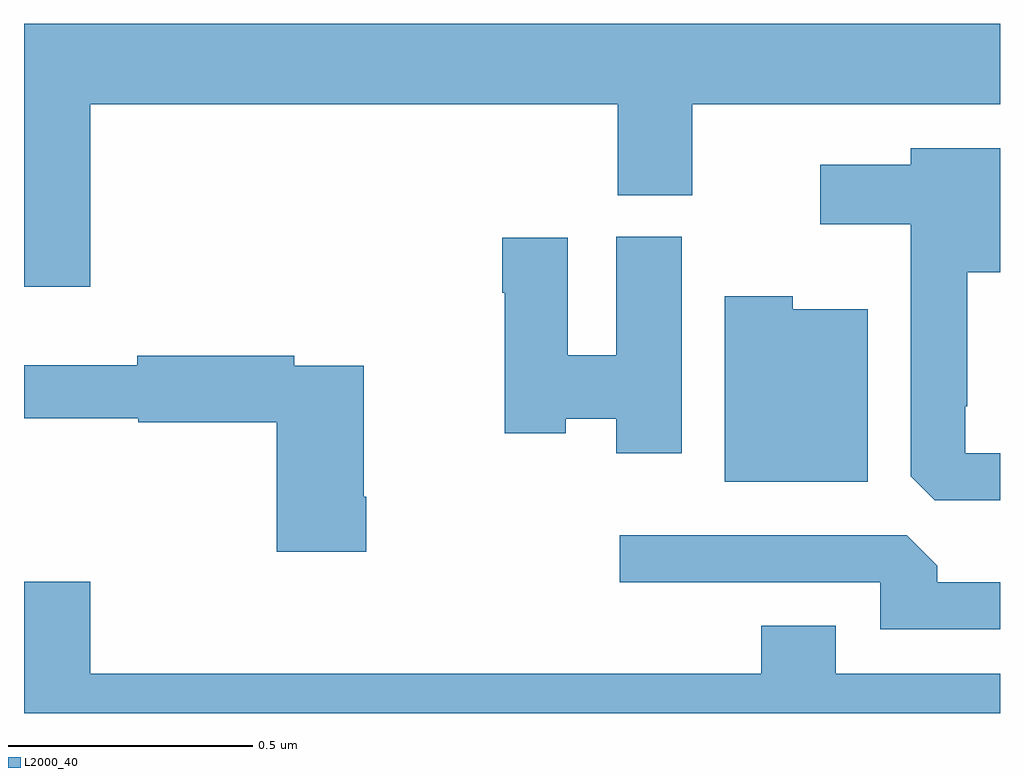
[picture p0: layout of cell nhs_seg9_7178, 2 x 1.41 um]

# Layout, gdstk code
import gdstk
lib = gdstk.Library(unit=1e-6, precision=1e-09)
def P(c, l, *ps):  # polygons
    for p in ps: c.add(gdstk.Polygon(p, *l))
L2000_40 = (2000, 40)

nhs_seg9_7178 = lib.new_cell('nhs_seg9_7178')
P(nhs_seg9_7178, L2000_40, [(201.136,1201.748),(202.217,1201.748),(202.217,1201.561),(202.369,1201.561),(202.369,1201.748),(203,1201.748),(203,1201.912),(201,1201.912),(201,1201.374),(201.136,1201.374)],
  [(203,1201.032),(202.929,1201.032),(202.929,1201.129),(202.933,1201.129),(202.933,1201.403),(203,1201.403),(203,1201.657),(202.817,1201.657),(202.817,1201.624),(202.632,1201.624),(202.632,1201.502),(202.817,1201.502),(202.817,1200.985),(202.866,1200.936),(203,1200.936)],
  [(202.348,1201.476),(202.214,1201.476),(202.214,1201.233),(202.114,1201.233),(202.114,1201.474),(201.98,1201.474),(201.98,1201.361),(201.985,1201.361),(201.985,1201.073),(202.11,1201.073),(202.11,1201.103),(202.214,1201.103),(202.214,1201.032),(202.348,1201.032)],
  [(202.729,1201.327),(202.575,1201.327),(202.575,1201.354),(202.436,1201.354),(202.436,1200.974),(202.729,1200.974)],
  [(201.701,1200.943),(201.696,1200.943),(201.696,1201.212),(201.554,1201.212),(201.554,1201.232),(201.232,1201.232),(201.232,1201.213),(201,1201.213),(201,1201.104),(201.234,1201.104),(201.234,1201.096),(201.518,1201.096),(201.518,1200.831),(201.701,1200.831)],
  [(203,1200.768),(202.871,1200.768),(202.871,1200.802),(202.809,1200.864),(202.221,1200.864),(202.221,1200.768),(202.755,1200.768),(202.755,1200.672),(203,1200.672)],
  [(203,1200.58),(202.663,1200.58),(202.663,1200.679),(202.511,1200.679),(202.511,1200.58),(201.136,1200.58),(201.136,1200.769),(201,1200.769),(201,1200.5),(203,1200.5)])

lib.write_gds('nhs_seg9_7178.gds')
